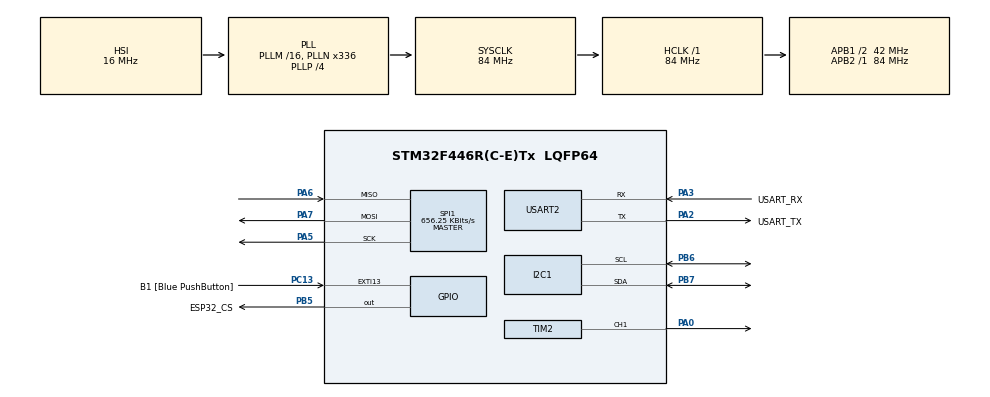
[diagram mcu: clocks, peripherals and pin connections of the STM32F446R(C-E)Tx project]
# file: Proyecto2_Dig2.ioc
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Mcu.Family=STM32F4
Mcu.Name=STM32F446R(C-E)Tx
Mcu.Package=LQFP64
NVIC.PriorityGroup=NVIC_PRIORITYGROUP_0
NVIC.SPI1_IRQn=true\:0\:0\:false\:false\:true\:true\:true\:true
NVIC.USART2_IRQn=true\:0\:0\:false\:false\:true\:true\:true\:true
PA0-WKUP.Signal=S_TIM2_CH1_ETR
PA13.GPIO_Label=TMS
PA13.Signal=SYS_JTMS-SWDIO
PA14.GPIO_Label=TCK
PA14.Signal=SYS_JTCK-SWCLK
PA2.GPIO_Label=USART_TX
PA2.Mode=Asynchronous
PA2.Signal=USART2_TX
PA3.GPIO_Label=USART_RX
PA3.Mode=Asynchronous
PA3.Signal=USART2_RX
PA5.Mode=Full_Duplex_Master
PA5.Signal=SPI1_SCK
PA6.Mode=Full_Duplex_Master
PA6.Signal=SPI1_MISO
PA7.Mode=Full_Duplex_Master
PA7.Signal=SPI1_MOSI
PB3.GPIO_Label=SWO
PB3.Signal=SYS_JTDO-SWO
PB5.GPIO_Label=ESP32_CS
PB5.GPIO_Speed=GPIO_SPEED_FREQ_HIGH
PB5.PinState=GPIO_PIN_SET
PB5.Signal=GPIO_Output
PB6.Mode=I2C
PB6.Signal=I2C1_SCL
PB7.Mode=I2C
PB7.Signal=I2C1_SDA
PC13.GPIO_Label=B1 [Blue PushButton]
PC13.GPIO_ModeDefaultEXTI=GPIO_MODE_IT_FALLING
PC13.Signal=GPXTI13
PC14-OSC32_IN.Signal=RCC_OSC32_IN
PC15-OSC32_OUT.Signal=RCC_OSC32_OUT
PH0-OSC_IN.Signal=RCC_OSC_IN
PH1-OSC_OUT.Signal=RCC_OSC_OUT
ProjectManager.HeapSize=0x200
ProjectManager.StackSize=0x400
ProjectManager.TargetToolchain=STM32CubeIDE
RCC.AHBFreq_Value=84000000
RCC.APB1CLKDivider=RCC_HCLK_DIV2
RCC.APB1Freq_Value=42000000
RCC.APB1TimFreq_Value=84000000
RCC.APB2Freq_Value=84000000
RCC.APB2TimFreq_Value=84000000
RCC.CortexFreq_Value=84000000
RCC.FLatency-AdvancedSettings=FLASH_LATENCY_2
RCC.HCLKFreq_Value=84000000
RCC.HSE_VALUE=8000000
RCC.HSI_VALUE=16000000
RCC.LSE_VALUE=32768
RCC.PLLN=336
RCC.PLLP=RCC_PLLP_DIV4
RCC.SYSCLKFreq_VALUE=84000000
RCC.SYSCLKSource=RCC_SYSCLKSOURCE_PLLCLK
RCC.USBFreq_Value=168000000
RCC.VCOOutputFreq_Value=336000000
SH.S_TIM2_CH1_ETR.0=TIM2_CH1,Output Compare1 CH1
SPI1.BaudRatePrescaler=SPI_BAUDRATEPRESCALER_128
SPI1.CalculateBaudRate=656.25 KBits/s
SPI1.Direction=SPI_DIRECTION_2LINES
SPI1.Mode=SPI_MODE_MASTER
SPI1.VirtualType=VM_MASTER
TIM2.Channel-Output\ Compare1\ CH1=TIM_CHANNEL_1
TIM2.OCMode_1=TIM_OCMODE_TOGGLE
TIM2.Period=4999
TIM2.Prescaler=8399
USART2.VirtualMode=VM_ASYNC
VP_TIM2_VS_ClockSourceINT.Mode=Internal
board=NUCLEO-F446RE

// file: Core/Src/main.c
/* USER CODE BEGIN Header */
/**
  ******************************************************************************
  * @file           : main.c
  * @brief          : Main program body
  ******************************************************************************
  * @attention
  *
  * Copyright (c) 2026 STMicroelectronics.
  * All rights reserved.
  *
  * This software is licensed under terms that can be found in the LICENSE file
  * in the root directory of this software component.
  * If no LICENSE file comes with this software, it is provided AS-IS.
  *
  ******************************************************************************
  */
/* USER CODE END Header */
#include "main.h" //informacion principal generada por el IDE

/* USER CODE BEGIN Includes */
#include <string.h> //permite trabajar con cadenas de caracteres
#include <stdio.h> //permite construir textos que incluyen numeros
/* USER CODE END Includes */

/* USER CODE BEGIN PD */
#define RX_BUF_LEN     20      //maximo de caracteres que se leen de la terminal
#define SPI_FRAME_LEN  4       //la trama SPI es de 4 bytes
#define SPI_HEADER     0xA5    //encabezado para que el ESP32 sepa que la trama es valida
#define LED_MIN        1
#define LED_MAX        3
#define TIEMPO_MIN     1
#define TIEMPO_MAX     60000   // ms
#define TIM2_TICKS_MS  10      //el TIM2 cuenta cada 0.1 ms, entonces 10 cuentas = 1 ms
/* USER CODE END PD */

I2C_HandleTypeDef hi2c1;

SPI_HandleTypeDef hspi1;

TIM_HandleTypeDef htim2;

UART_HandleTypeDef huart2;

void SystemClock_Config(void);
static void MX_GPIO_Init(void);
static void MX_USART2_UART_Init(void);
static void MX_I2C1_Init(void);
static void MX_SPI1_Init(void);
static void MX_TIM2_Init(void);
/* USER CODE BEGIN PFP */
static void UART_Print(const char *s);
static void UART_ReadLine(char *buf, uint16_t len);
static void Mostrar_Menu(void);
static void Submenu_SPI(void);
static uint8_t Parse_Comando(const char *s, uint8_t *led, uint16_t *tiempo);
static HAL_StatusTypeDef SPI_Enviar_Comando(uint8_t led, uint16_t tiempo);
static void Senal_Actualizar(uint16_t tiempo);
/* USER CODE END PFP */

int main(void)
{

  /* USER CODE BEGIN 1 */
	char opcion[8]; //arreglo para guardar la opcion escrita en el monitor serial
  /* USER CODE END 1 */

  /* MCU Configuration--------------------------------------------------------*/

  /* Reset of all peripherals, Initializes the Flash interface and the Systick. */
  HAL_Init();

  /* Configure the system clock */
  SystemClock_Config();

  /* Initialize all configured peripherals */
  MX_GPIO_Init();
  MX_USART2_UART_Init();
  MX_I2C1_Init();
  MX_SPI1_Init();
  MX_TIM2_Init();
  /* USER CODE BEGIN 2 */

  //arranca la señal cuadrada en PA0, inicia con 500 ms alto / 500 ms bajo
  //el timer hace el cambio de estado solo, no ocupa al CPU
  if (HAL_TIM_OC_Start(&htim2, TIM_CHANNEL_1) != HAL_OK)
  {
      Error_Handler(); //detener el programa en caso de una configuracipn incorrecta
  }

  UART_Print("\r\n=== Proyecto 2 - Digital 2 ===\r\n"); // \r:regresa el cursor al inicio de la linea, \n: baja a la siguiente linea.

  /* USER CODE END 2 */

  /* Infinite loop */
  /* USER CODE BEGIN WHILE */
    while (1)
    {
    	Mostrar_Menu(); //imprimir menu principal

    	UART_ReadLine(opcion, sizeof(opcion)); //guardar el arreglo escrito en el monitor e indicar su tamaño

        if (strcmp(opcion, "1") == 0) //compara el texto recibido con "1", si son iguales se devuelve 0
        {
            char texto[] = "\r\nSeleccionaste controlar SPI\r\n";

            HAL_UART_Transmit(&huart2,(uint8_t *)texto, strlen(texto), HAL_MAX_DELAY); //MAX DELAY indica que puede esperar el tiempo que sea necesario

            Submenu_SPI();
        }
        else if (strcmp(opcion, "2") == 0)
        {
            char texto[] = "\r\nSeleccionaste medir sensor I2C\r\n";

            HAL_UART_Transmit(&huart2, (uint8_t *)texto, strlen(texto), HAL_MAX_DELAY); //transmitir el texto por USART2, la direccion de sus bytes y su largo

            HAL_StatusTypeDef estado; //Guardar el resultado de la comunicación I2C
            uint8_t datos[4] = {0, 0, 0, 0}; //Byte alto ADC, bajo ADC, alto mV, bajo mV
            uint16_t adcRecibido; //Guardar el valor despues de unir los dos primeros Bytes
            uint16_t milivoltiosRecibidos; //Guardar el valor despues de unir los ultimos dos bytes
            char mensaje[100]; //Arreglo para construir el texto a mostrar en la terminal

            estado = HAL_I2C_Master_Receive(&hi2c1, //Utiliza I2C1 para solicitar cuatro bytes al esclavo con dirección 0x28,
            		0x28 << 1, datos, 4, 100);      //guárdalos en datos y espera como máximo 100 ms

            if (estado == HAL_OK) //Si la recepción de I2C se realizó correctamente...
            {
            	adcRecibido = ((uint16_t)datos[0] << 8) | datos[1]; //reconstruir ADC
            	milivoltiosRecibidos = ((uint16_t)datos[2] << 8) | datos[3]; //reconstruir mV

            	snprintf                         //Escribir el texto formateado dentro del arreglo
						(mensaje,                //arreglo donde se guardará el texto
						sizeof(mensaje),         //cantidad máxima de espacios (100)
						"\r\nADC: %u bits\r\nVoltaje: %u.%03u V\r\n",         //%u se reemplaza por un numero entero sin signo
            			(unsigned int)adcRecibido,                            //remplazar primer %u por el ADC
						(unsigned int)(milivoltiosRecibidos / 1000),          //remplazar segundo %u por el entero de milivoltios
						(unsigned int)(milivoltiosRecibidos % 1000));         //remplazar tercer %u por 3 digitos de decimales de milivoltios

                HAL_UART_Transmit(&huart2, (uint8_t *)mensaje, strlen(mensaje), HAL_MAX_DELAY); //Transmitir mensaje al monitor serial

            }
            else //Si hay un error I2C
            {
            	UART_Print("\r\nError al recibir datos\r\n");
            }
        }
        else //Si el valor ingresado no es valido
        {
            char texto[] = "\r\nOpcion no valida\r\n";

            HAL_UART_Transmit(&huart2, (uint8_t *)texto, strlen(texto), HAL_MAX_DELAY);
        }

    /* USER CODE END WHILE */

    }
}

void SystemClock_Config(void)
{
  RCC_OscInitTypeDef RCC_OscInitStruct = {0};
  RCC_ClkInitTypeDef RCC_ClkInitStruct = {0};

  /** Configure the main internal regulator output voltage
  */
  __HAL_RCC_PWR_CLK_ENABLE();
  __HAL_PWR_VOLTAGESCALING_CONFIG(PWR_REGULATOR_VOLTAGE_SCALE3);

  /** Initializes the RCC Oscillators according to the specified parameters
  * in the RCC_OscInitTypeDef structure.
  */
  RCC_OscInitStruct.OscillatorType = RCC_OSCILLATORTYPE_HSI;
  RCC_OscInitStruct.HSIState = RCC_HSI_ON;
  RCC_OscInitStruct.HSICalibrationValue = RCC_HSICALIBRATION_DEFAULT;
  RCC_OscInitStruct.PLL.PLLState = RCC_PLL_ON;
  RCC_OscInitStruct.PLL.PLLSource = RCC_PLLSOURCE_HSI;
  RCC_OscInitStruct.PLL.PLLM = 16; //oscilador interno HSI de la nucleo
  RCC_OscInitStruct.PLL.PLLN = 336; // El reloj principal del sistema funciona a (16MHz/16)*(336/4) = 84MHz
  RCC_OscInitStruct.PLL.PLLP = RCC_PLLP_DIV4;
  RCC_OscInitStruct.PLL.PLLQ = 2;
  RCC_OscInitStruct.PLL.PLLR = 2;
  if (HAL_RCC_OscConfig(&RCC_OscInitStruct) != HAL_OK) //si se falla la configuracion del oscilador...
  {
    Error_Handler();
  }

  /** Initializes the CPU, AHB and APB buses clocks
  */
  RCC_ClkInitStruct.ClockType = RCC_CLOCKTYPE_HCLK|RCC_CLOCKTYPE_SYSCLK
                              |RCC_CLOCKTYPE_PCLK1|RCC_CLOCKTYPE_PCLK2;
  RCC_ClkInitStruct.SYSCLKSource = RCC_SYSCLKSOURCE_PLLCLK;
  RCC_ClkInitStruct.AHBCLKDivider = RCC_SYSCLK_DIV1;
  RCC_ClkInitStruct.APB1CLKDivider = RCC_HCLK_DIV2; //A 42MHz, Relacionado con I2C1, USART2 y TIM2
  RCC_ClkInitStruct.APB2CLKDivider = RCC_HCLK_DIV1; //A 84MHz, Relacionado con SPI1

  if (HAL_RCC_ClockConfig(&RCC_ClkInitStruct, FLASH_LATENCY_2) != HAL_OK)
  {
    Error_Handler();
  }
}

static void MX_I2C1_Init(void)
{

  hi2c1.Instance = I2C1;
  hi2c1.Init.ClockSpeed = 100000; //velocidad estandar de I2C (100kHz)
  hi2c1.Init.DutyCycle = I2C_DUTYCYCLE_2;
  hi2c1.Init.OwnAddress1 = 0; //No se le asigna direccion ya que actua como maestro
  hi2c1.Init.AddressingMode = I2C_ADDRESSINGMODE_7BIT;
  hi2c1.Init.DualAddressMode = I2C_DUALADDRESS_DISABLE; //direccion doble desactivada
  hi2c1.Init.OwnAddress2 = 0;
  hi2c1.Init.GeneralCallMode = I2C_GENERALCALL_DISABLE;
  hi2c1.Init.NoStretchMode = I2C_NOSTRETCH_DISABLE;
  if (HAL_I2C_Init(&hi2c1) != HAL_OK) //Si no se puede iniciar la configuracion I2C...
  {
    Error_Handler();
  }

}

static void MX_SPI1_Init(void)
{

  /* SPI1 parameter configuration*/
  hspi1.Instance = SPI1;
  hspi1.Init.Mode = SPI_MODE_MASTER; //Nucleo configurada como maestro SPI
  hspi1.Init.Direction = SPI_DIRECTION_2LINES;
  hspi1.Init.DataSize = SPI_DATASIZE_8BIT;
  hspi1.Init.CLKPolarity = SPI_POLARITY_LOW; //Si no hay transferencia. CSK permanece en nivel bajo
  hspi1.Init.CLKPhase = SPI_PHASE_1EDGE;
  hspi1.Init.NSS = SPI_NSS_SOFT;
  hspi1.Init.BaudRatePrescaler = SPI_BAUDRATEPRESCALER_128; //velocidad SPI  = (84MHz/128) = 656.25kHz
  hspi1.Init.FirstBit = SPI_FIRSTBIT_MSB;
  hspi1.Init.TIMode = SPI_TIMODE_DISABLE;
  hspi1.Init.CRCCalculation = SPI_CRCCALCULATION_DISABLE;
  hspi1.Init.CRCPolynomial = 10;
  if (HAL_SPI_Init(&hspi1) != HAL_OK) //Si falla la configuracion SPI
  {
    Error_Handler();
  }

}

static void MX_TIM2_Init(void)
{

  TIM_ClockConfigTypeDef sClockSourceConfig = {0};
  TIM_MasterConfigTypeDef sMasterConfig = {0};
  TIM_OC_InitTypeDef sConfigOC = {0};

  // TIM2 recibe 84 MHz. El prescaler 8399 genera una cuenta cada 0.1 ms
  // y el periodo 4999 produce un cambio cada 500 ms.
  htim2.Instance = TIM2;
  htim2.Init.Prescaler = 8399;
  htim2.Init.CounterMode = TIM_COUNTERMODE_UP;
  htim2.Init.Period = 4999;
  htim2.Init.ClockDivision = TIM_CLOCKDIVISION_DIV1;
  htim2.Init.AutoReloadPreload = TIM_AUTORELOAD_PRELOAD_DISABLE;
  if (HAL_TIM_Base_Init(&htim2) != HAL_OK)
  {
    Error_Handler();
  }
  // TIM2 utiliza el reloj interno del STM32.
  sClockSourceConfig.ClockSource = TIM_CLOCKSOURCE_INTERNAL; //TIM2 utiliza el reloj interno del STM32, no de un pin externo
  if (HAL_TIM_ConfigClockSource(&htim2, &sClockSourceConfig) != HAL_OK)
  {
    Error_Handler();
  }
  if (HAL_TIM_OC_Init(&htim2) != HAL_OK)
  {
    Error_Handler();
  }
  // TIM2 funciona de manera independiente, sin sincronizarse con otros temporizadores.
  sMasterConfig.MasterOutputTrigger = TIM_TRGO_RESET;
  sMasterConfig.MasterSlaveMode = TIM_MASTERSLAVEMODE_DISABLE;
  if (HAL_TIMEx_MasterConfigSynchronization(&htim2, &sMasterConfig) != HAL_OK)
  {
    Error_Handler();
  }
  // El canal 1 cambia automáticamente el estado de PA0 cada vez que ocurre la comparación.
  sConfigOC.OCMode = TIM_OCMODE_TOGGLE;
  sConfigOC.Pulse = 0;
  sConfigOC.OCPolarity = TIM_OCPOLARITY_HIGH;
  sConfigOC.OCFastMode = TIM_OCFAST_DISABLE;
  if (HAL_TIM_OC_ConfigChannel(&htim2, &sConfigOC, TIM_CHANNEL_1) != HAL_OK)
  {
    Error_Handler();
  }
  // Configura físicamente PA0 para funcionar como salida TIM2_CH1.
  HAL_TIM_MspPostInit(&htim2);

}

static void MX_USART2_UART_Init(void)
{

  huart2.Instance = USART2;
  huart2.Init.BaudRate = 115200;
  huart2.Init.WordLength = UART_WORDLENGTH_8B;
  huart2.Init.StopBits = UART_STOPBITS_1;
  huart2.Init.Parity = UART_PARITY_NONE;
  huart2.Init.Mode = UART_MODE_TX_RX;
  huart2.Init.HwFlowCtl = UART_HWCONTROL_NONE;
  huart2.Init.OverSampling = UART_OVERSAMPLING_16;
  if (HAL_UART_Init(&huart2) != HAL_OK)
  {
    Error_Handler();
  }

}

static void MX_GPIO_Init(void)
{
  GPIO_InitTypeDef GPIO_InitStruct = {0};

  /* GPIO Ports Clock Enable */
  __HAL_RCC_GPIOC_CLK_ENABLE();
  __HAL_RCC_GPIOH_CLK_ENABLE();
  __HAL_RCC_GPIOA_CLK_ENABLE();
  __HAL_RCC_GPIOB_CLK_ENABLE();

  /*Configure GPIO pin Output Level */
  HAL_GPIO_WritePin(ESP32_CS_GPIO_Port, ESP32_CS_Pin, GPIO_PIN_SET);

  /*Configure GPIO pin : B1_Pin */
  GPIO_InitStruct.Pin = B1_Pin;
  GPIO_InitStruct.Mode = GPIO_MODE_IT_FALLING;
  GPIO_InitStruct.Pull = GPIO_NOPULL;
  HAL_GPIO_Init(B1_GPIO_Port, &GPIO_InitStruct);

  /*Configure GPIO pin : ESP32_CS_Pin */
  GPIO_InitStruct.Pin = ESP32_CS_Pin;
  GPIO_InitStruct.Mode = GPIO_MODE_OUTPUT_PP;
  GPIO_InitStruct.Pull = GPIO_NOPULL;
  GPIO_InitStruct.Speed = GPIO_SPEED_FREQ_HIGH;
  HAL_GPIO_Init(ESP32_CS_GPIO_Port, &GPIO_InitStruct);

}

/* USER CODE BEGIN 4 */

// Envíar una cadena completa al monitor serial mediante USART2.
static void UART_Print(const char *s)
{
  HAL_UART_Transmit(&huart2, (uint8_t *)s, strlen(s), HAL_MAX_DELAY);
}

// Leer una linea hasta Enter, permite borrar y agrega '\0' al final de la cadena.
static void UART_ReadLine(char *buf, uint16_t len) //direccion de donde se guardara el arreglo y su longitud máxima
{
  uint16_t i = 0; //posicion donde se guardara el siguiente caracter
  uint8_t c; //guarda un caracter recibido por UART

  while (1)
  {
    //recibe un caracter a la vez y lo guarda en c
    if (HAL_UART_Receive(&huart2, &c, 1, HAL_MAX_DELAY) != HAL_OK)
    	continue; //si ocurre un errro, regresa al principio del while

    //si llega un retorno o salto de linea
    if (c == '\r' || c == '\n')
    {
      if (i == 0) continue;  //Si i == 0, la línea está vacía y ese Enter se ignora.
      break;
    }
    if (c == '\b' || c == 127)  // Si se detecta un Backspace
    {
      if (i > 0) { //comprobar que exista al menos un caracter antes de borrar
    	  i--;  //reducir la posicion una vez
    	  UART_Print("\b \b"); } //borrar visualmente el caracter de la terminal
      continue;
    }
    //guarda el caracter si todavia hay espacio
    if (i < len - 1) //comprobar que todavía hay espacio en el arreglo
    {
      buf[i++] = c; //guardar caracter y aumentar indice
      HAL_UART_Transmit(&huart2, &c, 1, HAL_MAX_DELAY);   // eco, devolver por UART el mismo caracter que se acaba de recibir
    }
  }
  buf[i] = '\0';   //agregar caracter para cerrar texro
  UART_Print("\r\n");
}

static void Mostrar_Menu(void)//imprime el menu principal
{
  UART_Print("\r\n------ MENU PRINCIPAL ------\r\n");
  UART_Print("1. Controlar dispositivo SPI \r\n");
  UART_Print("2. Obtener medicion del sensor I2C\r\n");
  UART_Print("Seleccione una opcion: ");
}

/* Valida el formato "LED,TIEMPO". Retorna 1 si es valido, 0 si no */
static uint8_t Parse_Comando(const char *s, uint8_t *led, uint16_t *tiempo)//Revisa que el comando sea valido
																		   //s apunta el texto que se analizara
{
  uint32_t valor = 0; //para construir los numeros encontrados en el texto
  uint8_t digitos = 0; //cuenta cuantos digitos se encontraron

  while (*s == ' ') s++;   //ignorar espacios al inicio

  /* --- numero de LED (1 digito) --- */
  while (*s >= '0' && *s <= '9')
  {
    valor = valor * 10 + (*s - '0');   //convierte el caracter a numero
    s++; //avanzar al siguiente caracter
    if (++digitos > 1) //aumentar digitos y utilizar el nuevo valor
    	return 0;      //Si hay mas de un digito, terminar la funcion
  }
  if (digitos == 0 || valor < LED_MIN || valor > LED_MAX) //si no se encontro ningun numero, el led es menor que 1 o mayor que 3
	  return 0; //terminar la funcion
  *led = (uint8_t)valor; //guardar led validado en la variable global

  /* --- coma separadora --- */
  while (*s == ' ') s++; //ignora espacion entre el LED y la coma
  if (*s != ',') return 0; //comprueba que el caracter sea una coma
  s++; //avanza despues de la coma
  while (*s == ' ') s++; //ignora espacios despues de la coma

  /* --- tiempo en ms (max 5 digitos) --- */
  valor = 0; //reinicia variables, ya que ahora se usan para leer el tiempo
  digitos = 0; //el numero del LED ya fue guardado en *led
  while (*s >= '0' && *s <= '9') //leer todos los digitos del tiempo
  {
    valor = valor * 10 + (*s - '0'); //construir el numero digito por digito
    s++;
    if (++digitos > 5) return 0; //rechaza si hay mas de 5 digitos
  }
  if (digitos == 0) return 0; //comprueba que hayan valores escritos

  while (*s == ' ') s++; //ignora espacios al final
  if (*s != '\0') return 0;  // no debe haber basura al final

  if (valor < TIEMPO_MIN || valor > TIEMPO_MAX) return 0; //comprobar que el tiempo esté entre 1 y 60000
  *tiempo = (uint16_t)valor; //guaradar el valor del tiempo en la variable original
  return 1;
}

/* Envia la trama de 4 bytes al ESP32: [0xA5][LED][T_H][T_L] */
static HAL_StatusTypeDef SPI_Enviar_Comando(uint8_t led, uint16_t tiempo)//Pone el CS en bajo y manda los 4 bytes por SPI
{
  //el tiempo se parte en dos bytes: parte alta y parte baja
  uint8_t tx[SPI_FRAME_LEN] = { SPI_HEADER, led, (uint8_t)(tiempo >> 8), (uint8_t)(tiempo & 0xFF) };
  uint8_t rx[SPI_FRAME_LEN] = {0};
  HAL_StatusTypeDef st;

  HAL_GPIO_WritePin(ESP32_CS_GPIO_Port, ESP32_CS_Pin, GPIO_PIN_RESET);   //selecciona al ESP32
  HAL_Delay(1);                                   // tiempo para que el esclavo se prepare
  st = HAL_SPI_TransmitReceive(&hspi1, tx, rx, SPI_FRAME_LEN, 100);
  HAL_GPIO_WritePin(ESP32_CS_GPIO_Port, ESP32_CS_Pin, GPIO_PIN_SET);     //libera al ESP32

  return st;
}

/* Cambia el tiempo de la senal cuadrada del TIM2 */
static void Senal_Actualizar(uint16_t tiempo)
{
  //el pin cambia de estado cada vez que el contador llega al periodo
  //entonces el periodo del timer es el tiempo en alto (y el tiempo en bajo)
  __HAL_TIM_SET_AUTORELOAD(&htim2, (uint32_t)tiempo * TIM2_TICKS_MS - 1);
  __HAL_TIM_SET_COMPARE(&htim2, TIM_CHANNEL_1, 0);
  //se reinicia el contador para que no se pase del nuevo periodo
  __HAL_TIM_SET_COUNTER(&htim2, 0);
}

// Solicita el comando LED,TIEMPO, lo valida, lo envía por SPI y actualiza TIM2.
static void Submenu_SPI(void)
{
  char linea[RX_BUF_LEN]; //variable para guardar lo escrito por el usuario
  char msg[64]; //64 caracteres para construir mensajes que contienen números.
  uint8_t led; //guardar numero de led (1, 2 o 3)
  uint16_t tiempo; //guardar tiempo en milisegundos (1 a 60000)

  while (1)
  {
    UART_Print("\r\n--- CONTROL DE LEDs ---\r\n");
    UART_Print("Formato: LED,TIEMPO_ms \r\n");
    UART_Print("LED: 1-3   Tiempo: 1-60000 ms   (0 = regresar)\r\n");
    UART_Print("> ");
    UART_ReadLine(linea, sizeof(linea));//Lee lo que se escribe hasta presionar enter, aceptando backspace y borrar.

    if (strcmp(linea, "0") == 0) return;          // regresar al menu

    if (!Parse_Comando(linea, &led, &tiempo)) //Si el comando no es válido...
    {
      UART_Print("Error: comando invalido. Intente de nuevo.\r\n"); //Manda el texto a la terminal
      continue;
    }

    if (SPI_Enviar_Comando(led, tiempo) != HAL_OK)
    {
      UART_Print("Error: fallo la transmision SPI.\r\n");
      return;
    }

    //Utiliza el mismo tiempo ingresado para modificar la señal cuadrada de PA0.
    Senal_Actualizar(tiempo);
    snprintf(msg, sizeof(msg), "Senal cuadrada: %u ms alto / %u ms bajo\r\n", tiempo, tiempo);
    UART_Print(msg);

    snprintf(msg, sizeof(msg), "Enviado: LED %u encendido por %u ms...\r\n", led, tiempo);
    UART_Print(msg);

    UART_Print("Operacion finalizada.\r\n");
    return;                                        // regresa al menu principal
  }
}

/* USER CODE END 4 */

void Error_Handler(void)
{
  __disable_irq();
  while (1)
  {
  }
}
